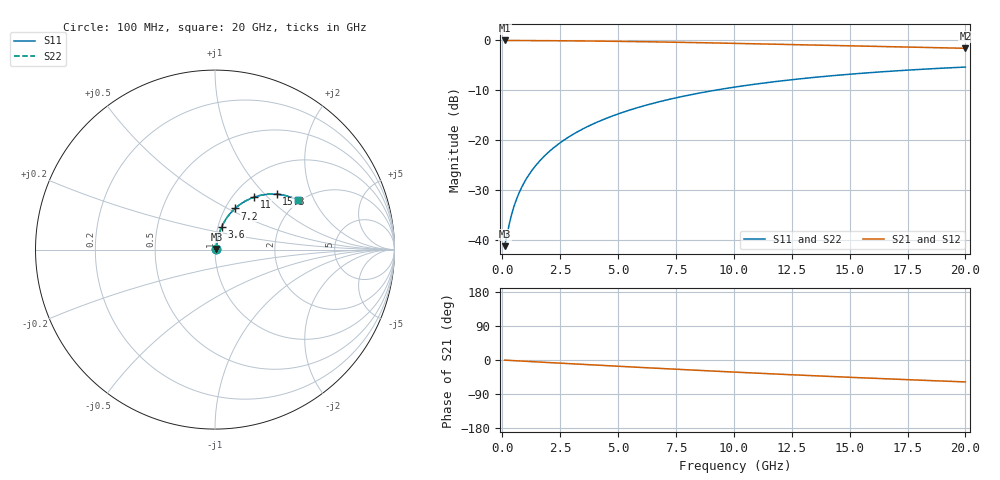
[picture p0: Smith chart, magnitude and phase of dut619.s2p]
! Touchstone file exported from HFSS 2026.1.0
!  File:  C:/ffzhzh/LocalFiles/Ansys_Project_Files/temp_train_BSMRDL_619_1783016367_51716.aedt
!  Generated:  02:21:10 AM Jul  3, 2026
!  Design:  BSMRDL
!  Project:  temp_train_BSMRDL_619_1783016367_51716
! Variables:
!  h_bsmrdl = 2.25um
!  h_ox = 20um
!  h_rdl = 5um
!  h_sub = 80um
!  h_tmrdl = 5um
!  h_tsv = 80um
!  h_via = 3um
!  l_bsmrdl = 864.99um
!  l_sub = 1264.99um
!  l_tmrdl = 200um
!  m_sub = 200um
!  pitch = 46.7um
!  r_tsv = 6um
!  s_tmrdl = 10um
!  w_bsmrdl = 17.92um
!  w_sub = 500um
!  w_tmrdl = 12um
!  x_tsv_center1 = 206um
!  x_tsv_center2 = 1088.91um
!  x_tsv_center3 = 1300.91um
!  x_tsv_center4 = 2183.82um
!  x_tsv_center5 = 2395.82um
!  x_tsv_center6 = 3278.73um
# GHz S MA R 50.000000
! Terminal data exported
! Port[1] = BSM_RDL1_1_T1
! Port[2] = BSM_RDL1_1_T2
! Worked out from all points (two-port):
!   200 points, 100 MHz to 20 GHz, reference 50 ohm
!   highest |S21| = -0.07 dB at 100 MHz (marker M1); lowest = -1.6 dB at 20 GHz (marker M2)
!   |S21| within 3 dB of the highest: start of sweep to end of sweep
!   lowest |S11| = -41.2 dB at 100 MHz (marker M3), VSWR 1.02, Z = 50.8 + j0.409 ohm
!   |S11| at or under -10 dB: start of sweep to 9.212 GHz
!   |S22| runs from -41.2 to -5.4 dB; largest |S21 - S12| = 2.9e-14
!   S11 on the Smith chart (normalised r, x): 100 MHz: 1.02, +0.01; 3.6 GHz: 1.04, +0.27; 7.2 GHz: 1.11, +0.55; 11 GHz: 1.25, +0.84; 15.3 GHz: 1.50, +1.17; 20 GHz: 1.96, +1.51
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0.1  0.008723 27.5  0.9923 -0.4  0.9923 -0.4  0.008723 27.5
! Gamma 0 0 0 0
! Port Impedance 50 0 50 0
0.3  0.01452 55.4  0.9919 -1.1  0.9919 -1.1  0.01452 55.4
0.4  0.01801 61.4  0.9916 -1.4  0.9916 -1.4  0.01801 61.4
0.6  0.0252 67.9  0.9911 -2.1  0.9911 -2.1  0.0252 67.9
0.7  0.02882 69.8  0.9908 -2.4  0.9908 -2.4  0.02882 69.8
0.9  0.03606 72.3  0.9903 -3.1  0.9903 -3.1  0.03606 72.3
1.2  0.04694 74.3  0.9895 -4.1  0.9895 -4.1  0.04694 74.3
1.7  0.06512 75.7  0.9882 -5.7  0.9882 -5.7  0.06512 75.7
2.2  0.08333 75.8  0.9866 -7.4  0.9866 -7.4  0.08333 75.8
2.8  0.1051 75.1  0.9844 -9.4  0.9844 -9.4  0.1051 75.1
3.5  0.1303 73.8  0.9812 -11.7  0.9812 -11.7  0.1303 73.8
3.6  0.1338 73.6  0.9807 -12.0  0.9807 -12.0  0.1338 73.6
5  0.1829 70.1  0.9724 -16.5  0.9724 -16.5  0.1829 70.1
6.8  0.2428 65.1  0.9587 -22.2  0.9587 -22.2  0.2428 65.1
7.2  0.2556 63.9  0.9553 -23.5  0.9553 -23.5  0.2556 64.0
8.6  0.2984 59.9  0.9425 -27.7  0.9425 -27.7  0.2984 60.0
10.1  0.3411 55.7  0.9275 -32.2  0.9275 -32.2  0.3411 55.8
11  0.365 53.2  0.9182 -34.8  0.9182 -34.8  0.365 53.3
13.4  0.4226 46.7  0.8928 -41.4  0.8928 -41.4  0.4226 46.8
15.3  0.4621 41.8  0.873 -46.4  0.873 -46.4  0.462 42.0
16.7  0.4878 38.4  0.8588 -50.0  0.8588 -50.0  0.4878 38.5
20  0.5382 30.6  0.8284 -57.9  0.8284 -57.9  0.5381 30.8
